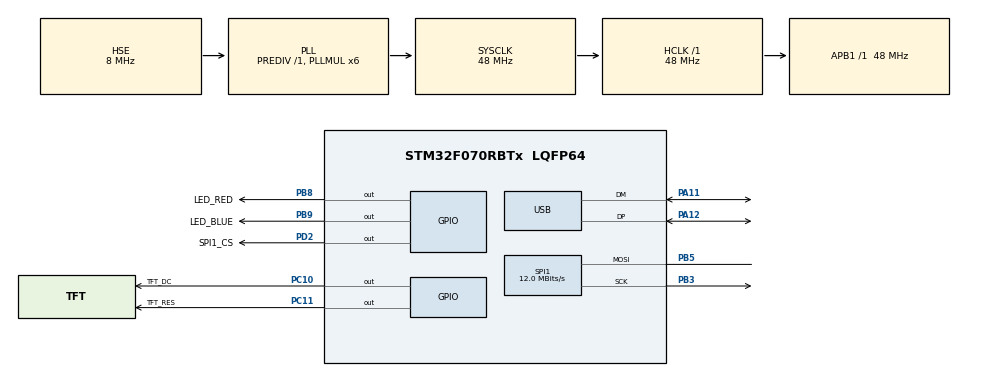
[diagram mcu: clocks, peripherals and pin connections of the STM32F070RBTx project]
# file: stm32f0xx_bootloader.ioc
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Dma.Request0=SPI1_TX
Dma.SPI1_TX.0.Direction=DMA_MEMORY_TO_PERIPH
Dma.SPI1_TX.0.Instance=DMA1_Channel3
Dma.SPI1_TX.0.MemDataAlignment=DMA_MDATAALIGN_BYTE
Dma.SPI1_TX.0.MemInc=DMA_MINC_ENABLE
Dma.SPI1_TX.0.Mode=DMA_NORMAL
Dma.SPI1_TX.0.PeriphDataAlignment=DMA_PDATAALIGN_BYTE
Dma.SPI1_TX.0.PeriphInc=DMA_PINC_DISABLE
Dma.SPI1_TX.0.Priority=DMA_PRIORITY_MEDIUM
Mcu.Family=STM32F0
Mcu.Name=STM32F070RBTx
Mcu.Package=LQFP64
NVIC.DMA1_Channel2_3_IRQn=true\:0\:0\:false\:false\:true\:false\:true\:true
NVIC.USB_IRQn=true\:0\:0\:false\:false\:true\:false\:true\:true
PA11.Mode=Device
PA11.Signal=USB_DM
PA12.Mode=Device
PA12.Signal=USB_DP
PA13.Mode=Serial_Wire
PA13.Signal=SYS_SWDIO
PA14.Mode=Serial_Wire
PA14.Signal=SYS_SWCLK
PB3.Mode=Simplex_Bidirectional_Master
PB3.Signal=SPI1_SCK
PB5.Mode=Simplex_Bidirectional_Master
PB5.Signal=SPI1_MOSI
PB8.GPIO_Label=LED_RED
PB8.Signal=GPIO_Output
PB9.GPIO_Label=LED_BLUE
PB9.Signal=GPIO_Output
PC10.GPIO_Label=TFT_DC
PC10.Signal=GPIO_Output
PC11.GPIO_Label=TFT_RES
PC11.Signal=GPIO_Output
PD2.GPIO_Label=SPI1_CS
PD2.Signal=GPIO_Output
PF0-OSC_IN.Mode=HSE-External-Oscillator
PF0-OSC_IN.Signal=RCC_OSC_IN
PF1-OSC_OUT.Mode=HSE-External-Oscillator
PF1-OSC_OUT.Signal=RCC_OSC_OUT
ProjectManager.HeapSize=0x200
ProjectManager.StackSize=0x400
ProjectManager.TargetToolchain=STM32CubeIDE
RCC.AHBFreq_Value=48000000
RCC.APB1Freq_Value=48000000
RCC.APB1TimFreq_Value=48000000
RCC.HCLKFreq_Value=48000000
RCC.PLLMUL=RCC_PLL_MUL6
RCC.SYSCLKFreq_VALUE=48000000
RCC.SYSCLKSource=RCC_SYSCLKSOURCE_PLLCLK
SPI1.BaudRatePrescaler=SPI_BAUDRATEPRESCALER_4
SPI1.CLKPhase=SPI_PHASE_2EDGE
SPI1.CLKPolarity=SPI_POLARITY_HIGH
SPI1.CalculateBaudRate=12.0 MBits/s
SPI1.DataSize=SPI_DATASIZE_8BIT
SPI1.Direction=SPI_DIRECTION_1LINE
SPI1.Mode=SPI_MODE_MASTER
SPI1.VirtualType=VM_MASTER
USB_DEVICE.CLASS_NAME_FS=CDC
USB_DEVICE.VirtualMode=Cdc
USB_DEVICE.VirtualModeFS=Cdc_FS
VP_CRC_VS_CRC.Mode=CRC_Activate
VP_USB_DEVICE_VS_USB_DEVICE_CDC_FS.Mode=CDC_FS
board=custom

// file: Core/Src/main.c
/* USER CODE BEGIN Header */
/**
  ******************************************************************************
  * @file           : main.c
  * @brief          : Main program body
  ******************************************************************************
  * @attention
  *
  * Copyright (c) 2026 STMicroelectronics.
  * All rights reserved.
  *
  * This software is licensed under terms that can be found in the LICENSE file
  * in the root directory of this software component.
  * If no LICENSE file comes with this software, it is provided AS-IS.
  *
  ******************************************************************************
  */
/* USER CODE END Header */
#include "main.h"
#include "usb_device.h"

/* USER CODE BEGIN Includes */
#include <stdio.h>
#include <string.h>
#include "Flash.h"
#include "usbd_cdc_if.h"
#include "st7789.h"

// Flash Addresses
#define BOOTLOADER_FLASH_ADDR       0x08000000
#define PARAM_PAGE_ADDR			    0x0801F800    // Starts after 32KB Bootloader
#define MAIN_APP_FLASH_ADDR         0x08008000    // Starts after 2KB Config Page
#define VECTOR_TABLE_SIZE  0xC0U

// Protocol Commands
#define CMD_START                  0x01
#define CMD_DATA                   0x02
#define CMD_END                    0x03
#define CMD_JUMP_ONLY              0x04
#define CMD_ERASE_CRC              0x05
#define CMD_JUMP_ONLY              0x04
#define CMD_ERASE_CRC              0x05
// Protocol Responses
#define ACK                        0x06
#define NACK                       0x15

/* USER CODE END Includes */

CRC_HandleTypeDef hcrc;

SPI_HandleTypeDef hspi1;
DMA_HandleTypeDef hdma_spi1_tx;

void SystemClock_Config(void);
static void MX_GPIO_Init(void);
static void MX_DMA_Init(void);
static void MX_CRC_Init(void);
static void MX_SPI1_Init(void);

/* USER CODE BEGIN 0 */

char MBCodeBuiltDateTime[30];
uint8_t flashbuffer[128] __attribute__((aligned(4)));

uint8_t usb_rx_buffer[256];
volatile uint32_t usb_rx_len = 0;
volatile uint8_t usb_data_ready = 0;

uint32_t write_address = MAIN_APP_FLASH_ADDR;
uint32_t total_file_size = 0;
uint8_t bootloader_active = 0;

void SystemClock_Config(void);
static void MX_GPIO_Init(void);
static void MX_CRC_Init(void);
void PrintBuildDate(void);
void WriteToDevice(char* commandString);
void JumpToMainApp(void);
uint32_t calculate_crc32(uint8_t *data, uint32_t size);
void ReadFlashBuffer(void);
void WriteCRC(unsigned char *data);
uint32_t ReadCRC(void);
void WriteAppSize(uint32_t size);
uint32_t ReadAppSize(void);
void Bootloader_Protocol_Handler(void);
void Send_USB_Response(uint8_t res);

void PrintBuildDate(void)
{
    snprintf(MBCodeBuiltDateTime, 30, "%s %s", __DATE__, __TIME__);
    WriteToDevice("Code Build Date: ");
    WriteToDevice(MBCodeBuiltDateTime);
    WriteToDevice("\r\n\r\n");
}

void WriteToDevice(char* commandString)
{
    CDC_Transmit_FS((uint8_t*)commandString, strlen(commandString));
}

void JumpToMainApp(void)
{
    uint32_t appStack = *(volatile uint32_t*)MAIN_APP_FLASH_ADDR;
    uint32_t appEntry = *(volatile uint32_t*)(MAIN_APP_FLASH_ADDR + 4);

    if ((appStack < 0x20000000U) || (appStack > 0x20004000U))
        return;

    __disable_irq();

    SysTick->CTRL = 0;
    SysTick->LOAD = 0;
    SysTick->VAL  = 0;

    USB->CNTR = USB_CNTR_FRES;
    USB->CNTR = 0;
    USB->BCDR &= ~USB_BCDR_DPPU;
    __HAL_RCC_USB_CLK_DISABLE();

    for (uint32_t i = 0; i < 8; i++)
    {
        NVIC->ICER[i] = 0xFFFFFFFF;
        NVIC->ICPR[i] = 0xFFFFFFFF;
    }

    for (uint32_t i = 0; i < VECTOR_TABLE_SIZE / 4; i++)
    {
        ((volatile uint32_t*)0x20000000U)[i] =
            ((volatile uint32_t*)MAIN_APP_FLASH_ADDR)[i];
    }

    __HAL_RCC_SYSCFG_CLK_ENABLE();

    SYSCFG->CFGR1 &= ~SYSCFG_CFGR1_MEM_MODE;
    SYSCFG->CFGR1 |= SYSCFG_CFGR1_MEM_MODE_0 | SYSCFG_CFGR1_MEM_MODE_1;

    __DSB();
    __ISB();

    __set_MSP(appStack);

    ((void (*)(void))appEntry)();

    while (1);
}

uint32_t calculate_crc32(uint8_t *data, uint32_t size)
{
    uint32_t crc = 0xFFFFFFFF;
    for (uint32_t i = 0; i < size; i++)
    {
        crc = crc ^ (uint32_t)data[i];
        for (uint32_t j = 0; j < 8; j++)
        {
            if (crc & 0x80000000) crc = (crc << 1) ^ 0x04C11DB7;
            else crc <<= 1;
        }
    }
    return crc;
}

void ReadFlashBuffer(void)
{
    ReadFlash((uint32_t*)PARAM_PAGE_ADDR, (uint32_t*)flashbuffer, 32);
}

void WriteCRC(unsigned char *data)
{
    ReadFlashBuffer();
    flashbuffer[16] = data[0]; flashbuffer[17] = data[1];
    flashbuffer[18] = data[2]; flashbuffer[19] = data[3];
    WriteFlash(PARAM_PAGE_ADDR, (uint32_t*)flashbuffer, sizeof(flashbuffer)/sizeof(uint32_t));
    HAL_Delay(10);
}

void WriteBootParams(uint32_t crc, uint32_t size)
{
    FLASH_EraseInitTypeDef EraseInitStruct;
    uint32_t PageError = 0;

    HAL_FLASH_Unlock();

    // Sadece parametre sayfasını sil (Uygulamaya asla dokunmaz)
    EraseInitStruct.TypeErase = FLASH_TYPEERASE_PAGES;
    EraseInitStruct.PageAddress = PARAM_PAGE_ADDR;
    EraseInitStruct.NbPages = 1;
    HAL_FLASHEx_Erase(&EraseInitStruct, &PageError);

    // CRC ve Boyut bilgilerini mühürle
    HAL_FLASH_Program(FLASH_TYPEPROGRAM_WORD, PARAM_PAGE_ADDR, crc);
    HAL_FLASH_Program(FLASH_TYPEPROGRAM_WORD, PARAM_PAGE_ADDR + 4, size);

    HAL_FLASH_Lock();
}

uint32_t ReadCRC(void)
{
    return *(volatile uint32_t*)PARAM_PAGE_ADDR;
}

uint32_t ReadAppSize(void)
{
    return *(volatile uint32_t*)(PARAM_PAGE_ADDR + 4);
}

void WriteAppSize(uint32_t size)
{
    ReadFlashBuffer();
    flashbuffer[20] = (uint8_t)(size & 0xFF);
    flashbuffer[21] = (uint8_t)((size >> 8) & 0xFF);
    flashbuffer[22] = (uint8_t)((size >> 16) & 0xFF);
    flashbuffer[23] = (uint8_t)((size >> 24) & 0xFF);
    WriteFlash(PARAM_PAGE_ADDR, (uint32_t*)flashbuffer, sizeof(flashbuffer)/sizeof(uint32_t));
    HAL_Delay(10);
}

void Send_USB_Response(uint8_t res)
{
    uint32_t start_tick = HAL_GetTick();
    while (CDC_Transmit_FS(&res, 1) == USBD_BUSY)
    {
        if ((HAL_GetTick() - start_tick) > 100) break;
        HAL_Delay(1);
    }
}

void Bootloader_Protocol_Handler(void)
{
    if (!usb_data_ready) return;
    uint8_t cmd = usb_rx_buffer[0];

    if (cmd == CMD_START)
        {
            total_file_size = usb_rx_buffer[1] | (usb_rx_buffer[2] << 8) | (usb_rx_buffer[3] << 16) | (usb_rx_buffer[4] << 24);
            write_address = MAIN_APP_FLASH_ADDR;
            bootloader_active = 1;

            //Bootloader_ShowProgress(0, total_file_size);
            WriteBootParams(0xFFFFFFFF, 0xFFFFFFFF);  // Delete existing CRC

            if (Flash_EraseAppArea(MAIN_APP_FLASH_ADDR, total_file_size) == 0) Send_USB_Response(ACK);
            else Send_USB_Response(NACK);
        }

    else if (cmd == CMD_DATA && bootloader_active)
        {
            uint16_t len = usb_rx_buffer[1] | (usb_rx_buffer[2] << 8);
            uint8_t *payload = &usb_rx_buffer[3];

            // DİKKAT: Veriyi 4'ün katına (Word Alignment) yuvarlıyoruz!
            uint32_t word_count = (len + 3) / 4;
            uint32_t aligned_buffer[64]; // Maksimum paket boyutunu kaldıracak havuz

            // 1. Buffer'ı 0xFF ile doldur (Boş kalan byte'lar Flash'ta 0xFF olarak kalmalıdır)
            memset(aligned_buffer, 0xFF, sizeof(aligned_buffer));

            // 2. Gelen 8-bitlik raw veriyi güvenli 32-bitlik havuza kopyala
            memcpy(aligned_buffer, payload, len);

            // 3. Özel Flash.c fonksiyonumuzu çağırarak veriyi donanıma kazı
            if (Flash_WriteWordsNoErase(write_address, aligned_buffer, word_count) == 0)
            {
                write_address += (word_count * 4); // Adresi başarılı yazılan byte kadar ileri sar
                uint32_t writtenBytes = write_address - MAIN_APP_FLASH_ADDR;
                //Bootloader_ShowProgress(writtenBytes, total_file_size);
                Send_USB_Response(ACK);
            }
            else
            {
                Send_USB_Response(NACK); // Yazma hatası oluştuysa Python'a bildir
            }
        }
    else if (cmd == CMD_END && bootloader_active)
        {
            uint32_t received_crc = usb_rx_buffer[1] | (usb_rx_buffer[2] << 8) | (usb_rx_buffer[3] << 16) | (usb_rx_buffer[4] << 24);
            uint32_t calculated_flash_crc = calculate_crc32((uint8_t*)MAIN_APP_FLASH_ADDR, total_file_size);

            if (calculated_flash_crc == received_crc)
            {
                // Python'dan gelen ile hesaplanan eşleşti! Güvenle parametreyi mühürle ve zıpla!
                WriteBootParams(calculated_flash_crc, total_file_size);
                Send_USB_Response(ACK);
                HAL_Delay(200);
                JumpToMainApp();
            }
            else
            {
            uint8_t error_packet[5] = {NACK};
            error_packet[1] = (uint8_t)(calculated_flash_crc & 0xFF);
            error_packet[2] = (uint8_t)((calculated_flash_crc >> 8) & 0xFF);
            error_packet[3] = (uint8_t)((calculated_flash_crc >> 16) & 0xFF);
            error_packet[4] = (uint8_t)((calculated_flash_crc >> 24) & 0xFF);
            CDC_Transmit_FS(error_packet, 5);
        }
        bootloader_active = 0;
    }
    usb_data_ready = 0;
}

void Bootloader_ShowProgress(uint32_t writtenBytes, uint32_t totalBytes)
{
    char text[20];

    if (totalBytes == 0)
        return;

    uint32_t percent = (writtenBytes * 100U) / totalBytes;

    if (percent > 100)
        percent = 100;

    snprintf(text, sizeof(text), "%lu%%", percent);

    // Ortaya yakın bölgeyi temizle
    ST7789_DrawFilledRectangle(70, 90, 180, 140, BLACK);

    // Başlık
    ST7789_WriteString(55, 70, "Uploading", Font_11x18, WHITE, BLACK);

    // Yüzde yazısı
    ST7789_WriteString(105, 100, text, Font_16x26, GREEN, BLACK);

    // Basit progress bar çerçevesi
    ST7789_DrawRectangle(40, 135, 280, 155, WHITE);

    // İç dolum
    uint16_t barWidth = (uint16_t)((236U * percent) / 100U);
    ST7789_DrawFilledRectangle(42, 137, 42 + barWidth, 153, GREEN);
}
/* USER CODE END 0 */

int main(void)
{

  /* MCU Configuration--------------------------------------------------------*/

  /* Reset of all peripherals, Initializes the Flash interface and the Systick. */
  HAL_Init();

  /* Configure the system clock */
  SystemClock_Config();

  /* Initialize all configured peripherals */
  MX_GPIO_Init();
  MX_DMA_Init();
  MX_USB_DEVICE_Init();
  MX_CRC_Init();
  MX_SPI1_Init();
  /* USER CODE BEGIN 2 */
  __HAL_RCC_USB_CLK_ENABLE();
  USB->BCDR |= USB_BCDR_DPPU;

  HAL_Delay(100);
  PrintBuildDate();

  ST7789_Init();

  ST7789_WriteString(0, 0, "BOOTLOADER v1.0", Font_11x18, WHITE, BLUE);
  HAL_Delay(100);
  /* USER CODE END 2 */

  /* Infinite loop */
  while (1)
  {

    /* USER CODE BEGIN 3 */

	    // ====================================================================
	    // 1. ADIM: OTOMATİK ATLAMA GÜVENLİK KONTROLÜ (GÜÇ AÇILIŞI)
	    // ====================================================================
	    uint32_t expected_crc = ReadCRC();
	    uint32_t saved_app_size = ReadAppSize();

	    // Hafızada geçerli bir CRC ve mantıklı bir uygulama boyutu var mı? (Örn: max 96KB)
	    if (expected_crc != 0xFFFFFFFF && saved_app_size > 0 && saved_app_size <= (96 * 1024))
	    {
	        // Flash'taki uygulamanın gerçek CRC'sini hesapla
	        uint32_t current_flash_crc = calculate_crc32((uint8_t*)MAIN_APP_FLASH_ADDR, saved_app_size);

	        if (current_flash_crc == expected_crc)
	        {
	            // EĞER HER ŞEY DOĞRUYSA: Hiç bekleme yapmadan DOĞRUDAN ana uygulamaya zıpla!
	            JumpToMainApp();
	        }
	    }

	    // ====================================================================
	    // 2. ADIM: EĞER GEÇERLİ UYGULAMA YOKSA VEYA UPLOADER BAĞLIYSA
	    // ====================================================================
	    WriteToDevice("No Valid App or CRC Mismatch. Staying in Bootloader Mode...\r\n");

	    // Ana Döngü: Gelen tüm uploader komutlarını ve ham test butonlarını dinler
	    while (1)
	    {
	        // Bootloader modunda çakılı kaldığını göstermek için LED'leri flaşör yap
	        static uint32_t last_wait_hb = 0;
	        if ((HAL_GetTick() - last_wait_hb) > 150)
	        {
	            HAL_GPIO_TogglePin(GPIOB, LED_BLUE_Pin);
	            HAL_GPIO_TogglePin(GPIOB, LED_RED_Pin);
	            last_wait_hb = HAL_GetTick();
	        }

	        if (usb_data_ready)
	        {
	            uint8_t cmd = usb_rx_buffer[0];

	            if (cmd == CMD_JUMP_ONLY)
	            {
	                WriteToDevice("Ham Emir: Uygulamaya atlanıyor...\r\n");
	                Send_USB_Response(ACK);
	                HAL_Delay(100);
	                JumpToMainApp();
	            }
	            else if (cmd == CMD_ERASE_CRC)
	            {
	                WriteToDevice("Ham Emir: CRC Alanı temizleniyor...\r\n");
	                uint8_t invalid_crc[4] = {0xFF, 0xFF, 0xFF, 0xFF};
	                WriteCRC(invalid_crc);
	                Send_USB_Response(ACK);
	            }
	            else
	            {
	                // Protokolün can damarı: CMD_START, CMD_DATA ve CMD_END akışını işletir
	                // Dosya yüklemesi bittiğinde kendisi otomatik olarak WriteCRC ve JumpToMainApp çağıracak!
	                Bootloader_Protocol_Handler();
	            }

	            usb_data_ready = 0; // Bayrağı indir
	        }
	    }
  }
  /* USER CODE END 3 */
}

void SystemClock_Config(void)
{
  RCC_OscInitTypeDef RCC_OscInitStruct = {0};
  RCC_ClkInitTypeDef RCC_ClkInitStruct = {0};
  RCC_PeriphCLKInitTypeDef PeriphClkInit = {0};

  /** Initializes the RCC Oscillators according to the specified parameters
  * in the RCC_OscInitTypeDef structure.
  */
  RCC_OscInitStruct.OscillatorType = RCC_OSCILLATORTYPE_HSE;
  RCC_OscInitStruct.HSEState = RCC_HSE_ON;
  RCC_OscInitStruct.PLL.PLLState = RCC_PLL_ON;
  RCC_OscInitStruct.PLL.PLLSource = RCC_PLLSOURCE_HSE;
  RCC_OscInitStruct.PLL.PLLMUL = RCC_PLL_MUL6;
  RCC_OscInitStruct.PLL.PREDIV = RCC_PREDIV_DIV1;
  if (HAL_RCC_OscConfig(&RCC_OscInitStruct) != HAL_OK)
  {
    Error_Handler();
  }

  /** Initializes the CPU, AHB and APB buses clocks
  */
  RCC_ClkInitStruct.ClockType = RCC_CLOCKTYPE_HCLK|RCC_CLOCKTYPE_SYSCLK
                              |RCC_CLOCKTYPE_PCLK1;
  RCC_ClkInitStruct.SYSCLKSource = RCC_SYSCLKSOURCE_PLLCLK;
  RCC_ClkInitStruct.AHBCLKDivider = RCC_SYSCLK_DIV1;
  RCC_ClkInitStruct.APB1CLKDivider = RCC_HCLK_DIV1;

  if (HAL_RCC_ClockConfig(&RCC_ClkInitStruct, FLASH_LATENCY_1) != HAL_OK)
  {
    Error_Handler();
  }
  PeriphClkInit.PeriphClockSelection = RCC_PERIPHCLK_USB;
  PeriphClkInit.UsbClockSelection = RCC_USBCLKSOURCE_PLL;

  if (HAL_RCCEx_PeriphCLKConfig(&PeriphClkInit) != HAL_OK)
  {
    Error_Handler();
  }
}

static void MX_CRC_Init(void)
{

  hcrc.Instance = CRC;
  hcrc.Init.DefaultInitValueUse = DEFAULT_INIT_VALUE_ENABLE;
  hcrc.Init.InputDataInversionMode = CRC_INPUTDATA_INVERSION_NONE;
  hcrc.Init.OutputDataInversionMode = CRC_OUTPUTDATA_INVERSION_DISABLE;
  hcrc.InputDataFormat = CRC_INPUTDATA_FORMAT_BYTES;
  if (HAL_CRC_Init(&hcrc) != HAL_OK)
  {
    Error_Handler();
  }

}

static void MX_SPI1_Init(void)
{

  /* SPI1 parameter configuration*/
  hspi1.Instance = SPI1;
  hspi1.Init.Mode = SPI_MODE_MASTER;
  hspi1.Init.Direction = SPI_DIRECTION_1LINE;
  hspi1.Init.DataSize = SPI_DATASIZE_8BIT;
  hspi1.Init.CLKPolarity = SPI_POLARITY_HIGH;
  hspi1.Init.CLKPhase = SPI_PHASE_2EDGE;
  hspi1.Init.NSS = SPI_NSS_SOFT;
  hspi1.Init.BaudRatePrescaler = SPI_BAUDRATEPRESCALER_4;
  hspi1.Init.FirstBit = SPI_FIRSTBIT_MSB;
  hspi1.Init.TIMode = SPI_TIMODE_DISABLE;
  hspi1.Init.CRCCalculation = SPI_CRCCALCULATION_DISABLE;
  hspi1.Init.CRCPolynomial = 7;
  hspi1.Init.CRCLength = SPI_CRC_LENGTH_DATASIZE;
  hspi1.Init.NSSPMode = SPI_NSS_PULSE_DISABLE;
  if (HAL_SPI_Init(&hspi1) != HAL_OK)
  {
    Error_Handler();
  }

}

static void MX_DMA_Init(void)
{

  /* DMA controller clock enable */
  __HAL_RCC_DMA1_CLK_ENABLE();

  /* DMA interrupt init */
  /* DMA1_Channel2_3_IRQn interrupt configuration */
  HAL_NVIC_SetPriority(DMA1_Channel2_3_IRQn, 0, 0);
  HAL_NVIC_EnableIRQ(DMA1_Channel2_3_IRQn);

}

static void MX_GPIO_Init(void)
{
  GPIO_InitTypeDef GPIO_InitStruct = {0};

  /* GPIO Ports Clock Enable */
  __HAL_RCC_GPIOF_CLK_ENABLE();
  __HAL_RCC_GPIOA_CLK_ENABLE();
  __HAL_RCC_GPIOC_CLK_ENABLE();
  __HAL_RCC_GPIOD_CLK_ENABLE();
  __HAL_RCC_GPIOB_CLK_ENABLE();

  /*Configure GPIO pin Output Level */
  HAL_GPIO_WritePin(GPIOC, TFT_DC_Pin|TFT_RES_Pin, GPIO_PIN_RESET);

  /*Configure GPIO pin Output Level */
  HAL_GPIO_WritePin(SPI1_CS_GPIO_Port, SPI1_CS_Pin, GPIO_PIN_RESET);

  /*Configure GPIO pin Output Level */
  HAL_GPIO_WritePin(GPIOB, LED_RED_Pin|LED_BLUE_Pin, GPIO_PIN_RESET);

  /*Configure GPIO pins : TFT_DC_Pin TFT_RES_Pin */
  GPIO_InitStruct.Pin = TFT_DC_Pin|TFT_RES_Pin;
  GPIO_InitStruct.Mode = GPIO_MODE_OUTPUT_PP;
  GPIO_InitStruct.Pull = GPIO_NOPULL;
  GPIO_InitStruct.Speed = GPIO_SPEED_FREQ_LOW;
  HAL_GPIO_Init(GPIOC, &GPIO_InitStruct);

  /*Configure GPIO pin : SPI1_CS_Pin */
  GPIO_InitStruct.Pin = SPI1_CS_Pin;
  GPIO_InitStruct.Mode = GPIO_MODE_OUTPUT_PP;
  GPIO_InitStruct.Pull = GPIO_NOPULL;
  GPIO_InitStruct.Speed = GPIO_SPEED_FREQ_LOW;
  HAL_GPIO_Init(SPI1_CS_GPIO_Port, &GPIO_InitStruct);

  /*Configure GPIO pins : LED_RED_Pin LED_BLUE_Pin */
  GPIO_InitStruct.Pin = LED_RED_Pin|LED_BLUE_Pin;
  GPIO_InitStruct.Mode = GPIO_MODE_OUTPUT_PP;
  GPIO_InitStruct.Pull = GPIO_NOPULL;
  GPIO_InitStruct.Speed = GPIO_SPEED_FREQ_LOW;
  HAL_GPIO_Init(GPIOB, &GPIO_InitStruct);

}

void Error_Handler(void)
{
  /* USER CODE BEGIN Error_Handler_Debug */
  /* User can add his own implementation to report the HAL error return state */
  __disable_irq();
  while (1)
  {
      HAL_GPIO_TogglePin(GPIOB, LED_RED_Pin);
      HAL_Delay(50);
  }
  /* USER CODE END Error_Handler_Debug */
}
